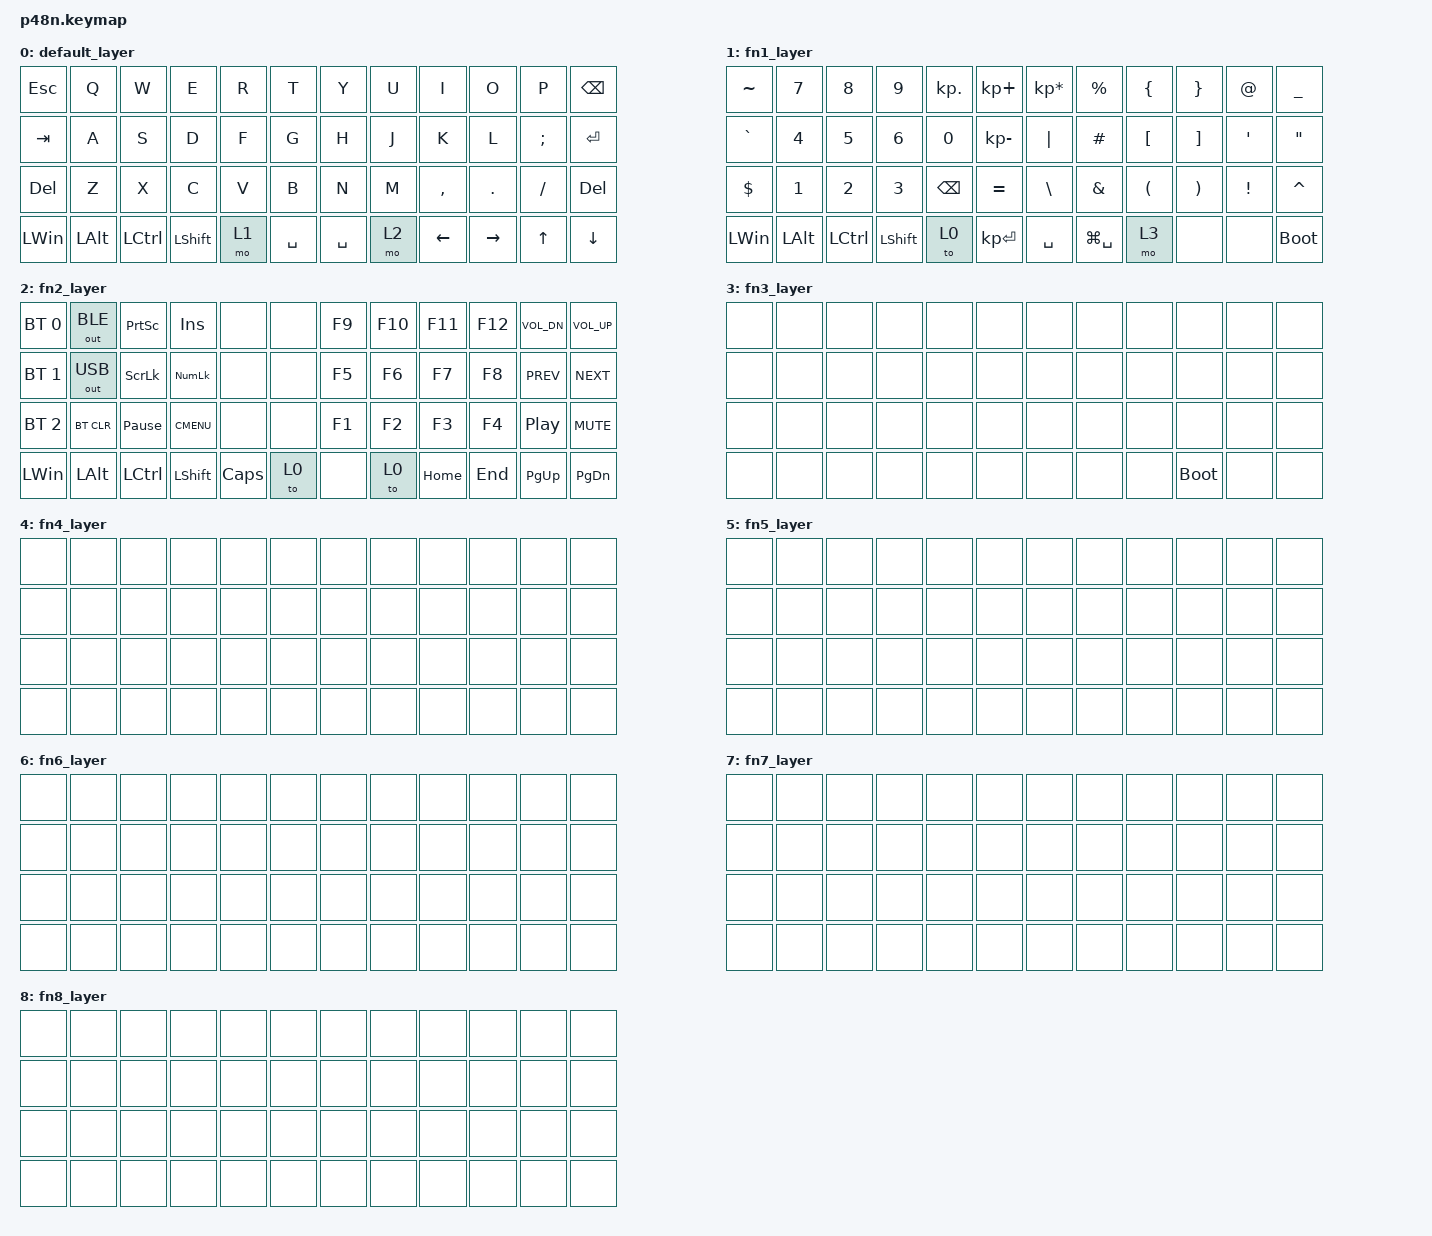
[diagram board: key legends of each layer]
/*
 * Copyright (c) 2020 The ZMK Contributors
 *
 * SPDX-License-Identifier: MIT
 */

#include <dt-bindings/zmk/mouse.h>
#include <behaviors.dtsi>
#include <dt-bindings/zmk/bt.h>
#include <dt-bindings/zmk/keys.h>
#include <dt-bindings/zmk/outputs.h>

/ {
    macros {
        xtips: xtips {
            compatible = "zmk,behavior-macro";
            label = "XTIPS";
            #binding-cells = <0>;
            bindings = <&kp LS(X) &kp KP_DOT &kp LS(T) &kp I &kp P &kp S>;
            wait-ms = <1>;
            tap-ms = <1>;
        };
    };

    keymap0: keymap {
        compatible = "zmk,keymap";

        default_layer {
            bindings = <
&kp ESC   &kp Q     &kp W      &kp E      &kp R  &kp T      &kp Y      &kp U  &kp I      &kp O      &kp P      &kp BSPC
&kp TAB   &kp A     &kp S      &kp D      &kp F  &kp G      &kp H      &kp J  &kp K      &kp L      &kp SEMI   &kp ENTER
&kp DEL   &kp Z     &kp X      &kp C      &kp V  &kp B      &kp N      &kp M  &kp COMMA  &kp DOT    &kp SLASH  &kp DEL
&kp LWIN  &kp LALT  &kp LCTRL  &kp LSHFT  &mo 1  &kp SPACE  &kp SPACE  &mo 2  &kp LEFT   &kp RIGHT  &kp UP     &kp DOWN
            >;
        };

        fn1_layer {
            bindings = <
&kp TILDE  &kp N7    &kp N8     &kp N9     &kp KP_DOT  &kp KP_PLUS   &kp KP_MULTIPLY  &kp PRCNT      &kp LBRC  &kp RBRC  &kp AT    &kp UNDER
&kp GRAVE  &kp N4    &kp N5     &kp N6     &kp N0      &kp KP_MINUS  &kp PIPE         &kp HASH       &kp LBKT  &kp RBKT  &kp SQT   &kp DQT
&kp DLLR   &kp N1    &kp N2     &kp N3     &kp BSPC    &kp EQUAL     &kp BSLH         &kp AMPS       &kp LPAR  &kp RPAR  &kp EXCL  &kp CARET
&kp LWIN   &kp LALT  &kp LCTRL  &kp LSHFT  &to 0       &kp KP_ENTER  &kp SPACE        &kp LG(SPACE)  &mo 3     &none     &none     &bootloader
            >;
        };

        fn2_layer {
            bindings = <
&bt BT_SEL 0  &out OUT_BLE  &kp PSCRN        &kp INS      &none     &none  &kp F9  &kp F10  &kp F11   &kp F12  &kp C_VOL_DN  &kp C_VOL_UP
&bt BT_SEL 1  &out OUT_USB  &kp SLCK         &kp KP_NLCK  &none     &none  &kp F5  &kp F6   &kp F7    &kp F8   &kp C_PREV    &kp C_NEXT
&bt BT_SEL 2  &bt BT_CLR    &kp PAUSE_BREAK  &kp K_CMENU  &none     &none  &kp F1  &kp F2   &kp F3    &kp F4   &kp C_PP      &kp C_MUTE
&kp LWIN      &kp LALT      &kp LCTRL        &kp LSHFT    &kp CAPS  &to 0  &none   &to 0    &kp HOME  &kp END  &kp PG_UP     &kp PG_DN
            >;
        };

        fn3_layer {
            bindings = <
&none  &none  &none  &none  &none  &none  &none  &none  &none  &none        &none  &none
&none  &none  &none  &none  &none  &none  &none  &none  &none  &none        &none  &none
&none  &none  &none  &none  &none  &none  &none  &none  &none  &none        &none  &none
&none  &none  &none  &none  &none  &none  &none  &none  &none  &bootloader  &none  &none
            >;
        };

        fn4_layer {
            bindings = <
&none  &none  &none  &none  &none  &none  &none  &none  &none  &none  &none  &none
&none  &none  &none  &none  &none  &none  &none  &none  &none  &none  &none  &none
&none  &none  &none  &none  &none  &none  &none  &none  &none  &none  &none  &none
&none  &none  &none  &none  &none  &none  &none  &none  &none  &none  &none  &none
            >;
        };

        fn5_layer {
            bindings = <
&none  &none  &none  &none  &none  &none  &none  &none  &none  &none  &none  &none
&none  &none  &none  &none  &none  &none  &none  &none  &none  &none  &none  &none
&none  &none  &none  &none  &none  &none  &none  &none  &none  &none  &none  &none
&none  &none  &none  &none  &none  &none  &none  &none  &none  &none  &none  &none
            >;
        };

        fn6_layer {
            bindings = <
&none  &none  &none  &none  &none  &none  &none  &none  &none  &none  &none  &none
&none  &none  &none  &none  &none  &none  &none  &none  &none  &none  &none  &none
&none  &none  &none  &none  &none  &none  &none  &none  &none  &none  &none  &none
&none  &none  &none  &none  &none  &none  &none  &none  &none  &none  &none  &none
            >;
        };

        fn7_layer {
            bindings = <
&none  &none  &none  &none  &none  &none  &none  &none  &none  &none  &none  &none
&none  &none  &none  &none  &none  &none  &none  &none  &none  &none  &none  &none
&none  &none  &none  &none  &none  &none  &none  &none  &none  &none  &none  &none
&none  &none  &none  &none  &none  &none  &none  &none  &none  &none  &none  &none
            >;
        };

        fn8_layer {
            bindings = <
&none  &none  &none  &none  &none  &none  &none  &none  &none  &none  &none  &none
&none  &none  &none  &none  &none  &none  &none  &none  &none  &none  &none  &none
&none  &none  &none  &none  &none  &none  &none  &none  &none  &none  &none  &none
&none  &none  &none  &none  &none  &none  &none  &none  &none  &none  &none  &none
            >;
        };
    };
};
